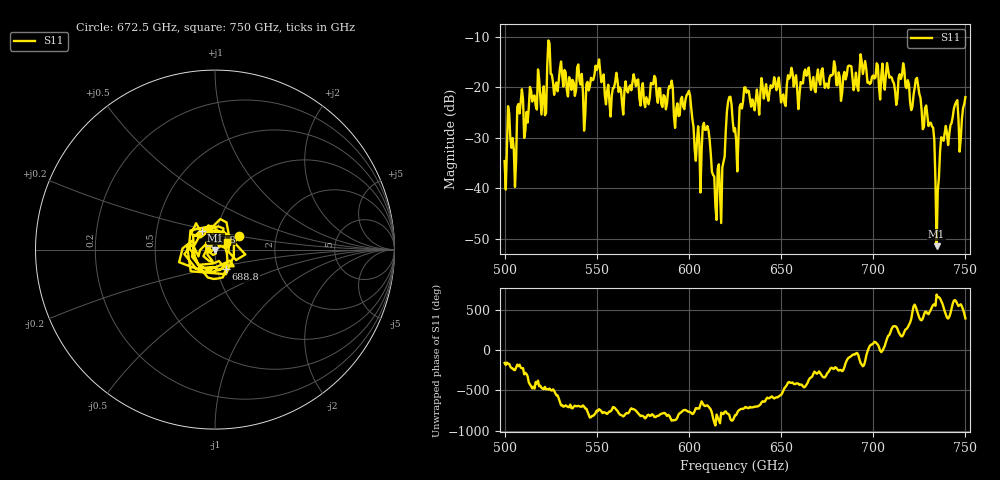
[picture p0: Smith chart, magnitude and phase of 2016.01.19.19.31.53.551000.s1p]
!Created with skrf (http://scikit-rf.org).
# GHz S RI R 50.0
!freq ReS11 ImS11
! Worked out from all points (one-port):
!   401 points, 500 GHz to 750 GHz, reference 50 ohm
!   lowest |S11| = -51.5 dB at 734.4 GHz (marker M1), VSWR 1.01, Z = 50.2 - j0.144 ohm
!   |S11| at or under -10 dB: start of sweep to end of sweep
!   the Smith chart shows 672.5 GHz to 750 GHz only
!   S11 on the Smith chart (normalised r, x): 672.5 GHz: 1.29, +0.20; 688.8 GHz: 1.10, -0.24; 723.8 GHz: 0.85, +0.17; 750 GHz: 1.14, +0.10
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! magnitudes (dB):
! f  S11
! 500 GHz  -34.6
! 503.1 GHz  -30.3
! 505 GHz  -32.3
! 508.1 GHz  -25.2
! 511.9 GHz  -24.9
! 521.2 GHz  -19.8
! 524.4 GHz  -11.3
! 531.2 GHz  -17.7
! 562.5 GHz  -20.1
! 590 GHz  -20.1
! 593.8 GHz  -23.2
! 600 GHz  -20.7
! 605 GHz  -27.8
! 609.4 GHz  -28.4
! 616.2 GHz  -35.3
! 621.9 GHz  -22.0
! 625 GHz  -28.1
! 631.2 GHz  -21.1
! 656.2 GHz  -17.2
! 672.5 GHz  -16.3
! 687.5 GHz  -15.8
! 688.8 GHz  -18.2
! 718.8 GHz  -18.6
! 723.8 GHz  -18.2
! 731.9 GHz  -27.8
! 734.4 GHz  -51.5
! 738.1 GHz  -30.6
! 750 GHz  -22.0
